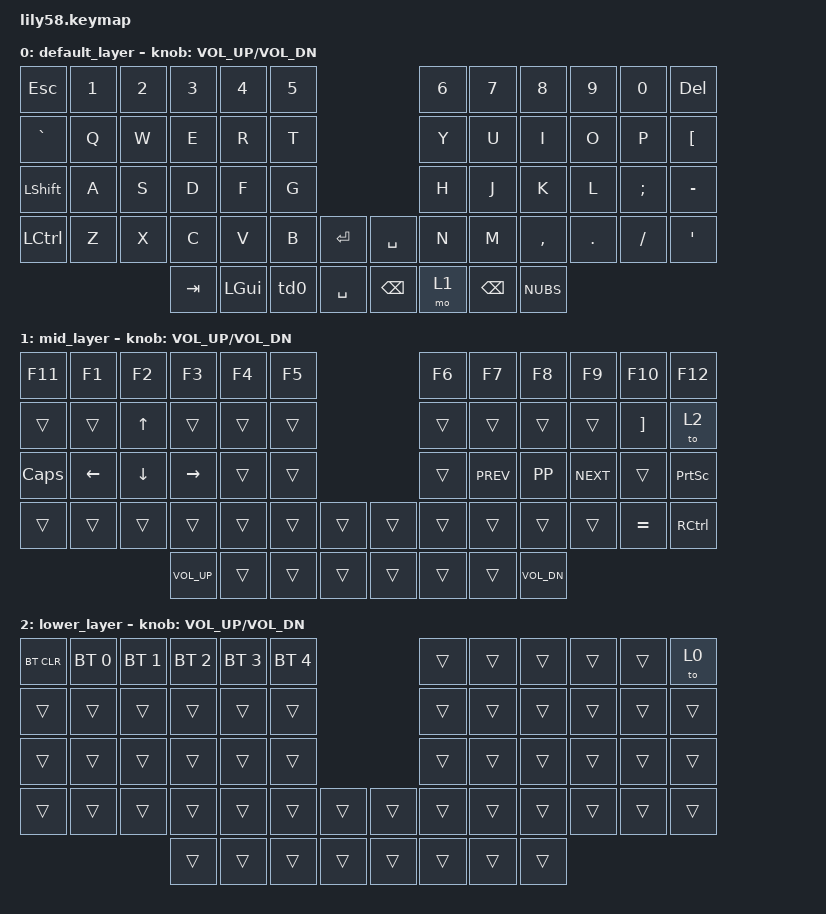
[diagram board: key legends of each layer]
/*
 * Copyright (c) 2020 The ZMK Contributors
 *
 * SPDX-License-Identifier: MIT
 */

#include <behaviors.dtsi>
#include <dt-bindings/zmk/keys.h>
#include <dt-bindings/zmk/bt.h>
#include <dt-bindings/zmk/ext_power.h>

/ {
    behaviors {
        td0: tap_dance_0 {
            compatible = "zmk,behavior-tap-dance";
            #binding-cells = <0>;
            tapping-term-ms = <200>;
            bindings = <&kp LALT>, <&kp LGUI>;
        };
    };

    keymap {
        compatible = "zmk,keymap";

        default_layer {
// ------------------------------------------------------------------------------------------------------------
// |  ESC  |  1  |  2  |  3   |  4   |  5   |                   |  6   |  7    |  8    |  9   |   0   |  DEL  |
// |   ~   |  Q  |  W  |  E   |  R   |  T   |                   |  Y   |  U    |  I    |  O   |   P   |   {   |
// | SHIFT |  A  |  S  |  D   |  F   |  G   |                   |  H   |  J    |  K    |  L   |   ;   |   -   |
// | CTRL  |  Z  |  X  |  C   |  V   |  B   |  ENTER |  | SPACE |  N   |  M    |  ,    |  .   |   /   |   '   |
//                     | TAB  | GUI  | LALT |  SPACE |  | bcksp | RAISE| BSPC  |   \   |
            bindings = <
&kp ESC   &kp N1 &kp N2 &kp N3   &kp N4   &kp N5                     &kp N6 &kp N7   &kp N8    &kp N9  &kp N0   &kp DEL
&kp GRAVE   &kp Q  &kp W  &kp E    &kp R    &kp T                      &kp Y  &kp U    &kp I     &kp O   &kp P    &kp LBKT
&kp LSHFT &kp A  &kp S  &kp D    &kp F    &kp G                      &kp H  &kp J    &kp K     &kp L   &kp SEMI &kp MINUS
&kp LCTRL &kp Z  &kp X  &kp C    &kp V    &kp B  &kp RET   &kp SPACE &kp N  &kp M    &kp COMMA &kp DOT &kp FSLH &kp SQT
                        &kp TAB &kp LGUI &td0  &kp SPACE  &kp BSPC  &mo 1  &kp BSPC &kp NUBS
            >;

            sensor-bindings = <&inc_dec_kp C_VOL_UP C_VOL_DN>;
        };

        mid_layer {
// ------------------------------------------------------------------------------------------------------------
// | F11 | F1 | F2 |  F3 |  F4 |  F5 |                   |   F6   |   F7    |   F8    |   F9   |    F10   |    F12   |
// |      |    |  UP |     |     |     |                   |     |      |      |    |  RBKT   |   TO2  |
// |   CAPS   |  LEFT  |  DOWN  |  RIGHT   |     |     |                   |     |   K_PREV   |   K_PP   |  K_NEXT   |      |   PSCRN   |
// |       |     |     |      |      |      |        |  |       |      |      |      |     |   =   |  RCTRL  |
//                     |   K_VOL_UP   |      |      |        |  |       |      |       |   K_VOL_DN    |
            bindings = <
&kp F11 &kp F1     &kp F2      &kp F3      &kp F4 &kp F5                 &kp F6    &kp F7    &kp F8    &kp F9    &kp F10    &kp F12
&trans  &trans  &kp UP  &trans  &trans  &trans      &trans  &trans  &trans  &trans  &kp RBKT  &to 2
&kp CAPS  &kp LEFT         &kp DOWN            &kp RIGHT          &trans   &trans                    &trans &kp K_PREV  &kp K_PP &kp K_NEXT  &trans  &kp PSCRN
&trans  &trans  &trans  &trans  &trans  &trans          &trans  &trans   &trans  &trans  &trans  &trans  &kp EQUAL   &kp RCTRL
                                              &kp K_VOL_UP            &trans       &trans    &trans   &trans    &trans    &trans    &kp K_VOL_DN
            >;

            sensor-bindings = <&inc_dec_kp C_VOL_UP C_VOL_DN>;
        };

        lower_layer {
// ------------------------------------------------------------------------------------------------------------
// | BTCLR | BT1 | BT2 |  BT3 |  BT4 |  BT5 |                   |      |       |       |      |       |       |
// |       |     |     |      |      |      |                   |      |       |       |      |       |       |
// |       |     |     |      |      |      |                   |      |       |       |      |       |       |
// |       |     |     |      |      |      |        |  |       |      |       |       |      |       |       |
//                     |      |      |      |        |  |       |      |       |       |
            bindings = <
&bt BT_CLR  &bt BT_SEL 0    &bt BT_SEL 1      &bt BT_SEL 2      &bt BT_SEL 3 &bt BT_SEL 4                 &trans    &trans    &trans    &trans    &trans    &to 0
&trans      &trans      &trans      &trans      &trans      &trans                          &trans      &trans      &trans      &trans      &trans      &trans
&trans      &trans      &trans      &trans      &trans      &trans                          &trans      &trans      &trans      &trans      &trans      &trans
&trans      &trans      &trans      &trans      &trans      &trans      &trans      &trans  &trans      &trans      &trans      &trans      &trans      &trans
                        &trans      &trans      &trans      &trans                          &trans      &trans      &trans      &trans
            >;

            sensor-bindings = <&inc_dec_kp C_VOL_UP C_VOL_DN>;
        };
    };
};
